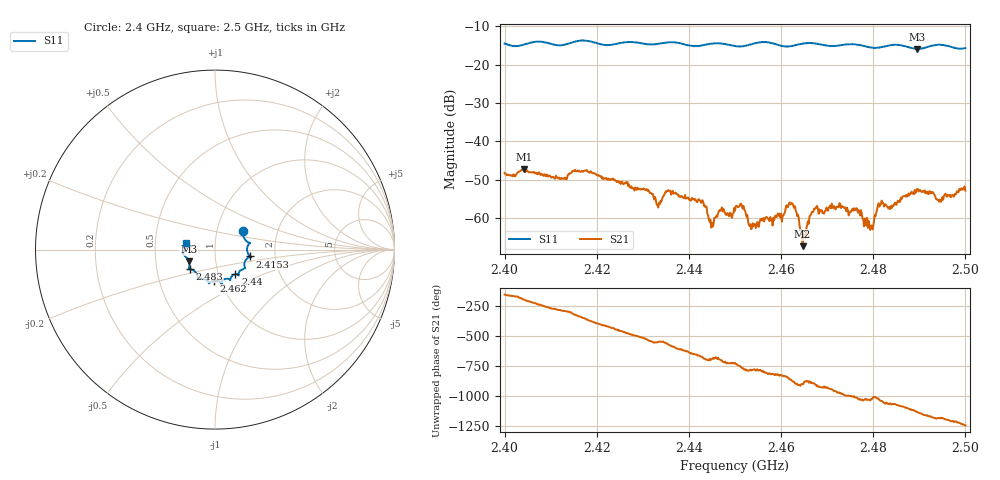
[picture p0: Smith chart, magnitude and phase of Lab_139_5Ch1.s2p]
# Hz S RI R 50
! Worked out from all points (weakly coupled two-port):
!   601 points, 2.4 GHz to 2.5 GHz, reference 50 ohm
!   highest |S21| = -47.27 dB at 2.4042 GHz (marker M1); lowest = -67.3 dB at 2.4647 GHz (marker M2)
!   lowest |S11| = -15.9 dB at 2.4895 GHz (marker M3), VSWR 1.38, Z = 37 - j5 ohm
!   |S11| at or under -10 dB: start of sweep to end of sweep
!   S12 and S22 are empty: the file has one direction only
!   S11 on the Smith chart (normalised r, x): 2.4 GHz: 1.33, +0.29; 2.4153 GHz: 1.48, -0.12; 2.44 GHz: 1.20, -0.34; 2.462 GHz: 0.93, -0.33; 2.483 GHz: 0.74, -0.17; 2.5 GHz: 0.72, +0.06
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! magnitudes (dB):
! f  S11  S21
! 2.4 GHz  -14.5  -48.2
! 2.4042 GHz  -14.8  -47.3
! 2.4153 GHz  -14.0  -47.4
! 2.4167 GHz  -13.7  -47.8
! 2.4333 GHz  -14.6  -57.2
! 2.4355 GHz  -14.2  -52.7
! 2.44 GHz  -15.0  -55.1
! 2.4433 GHz  -14.9  -56.9
! 2.4448 GHz  -14.5  -62.4
! 2.45 GHz  -15.2  -58.1
! 2.454 GHz  -14.5  -62.0
! 2.462 GHz  -15.2  -56.4
! 2.4647 GHz  -14.5  -67.3
! 2.4667 GHz  -14.4  -58.3
! 2.4732 GHz  -14.9  -56.8
! 2.4793 GHz  -15.5  -63.1
! 2.4813 GHz  -15.5  -57.0
! 2.483 GHz  -15.1  -56.9
! 2.4833 GHz  -15.0  -57.5
! 2.4895 GHz  -15.9  -52.4
! 2.4943 GHz  -14.8  -55.7
! 2.5 GHz  -15.7  -52.8
